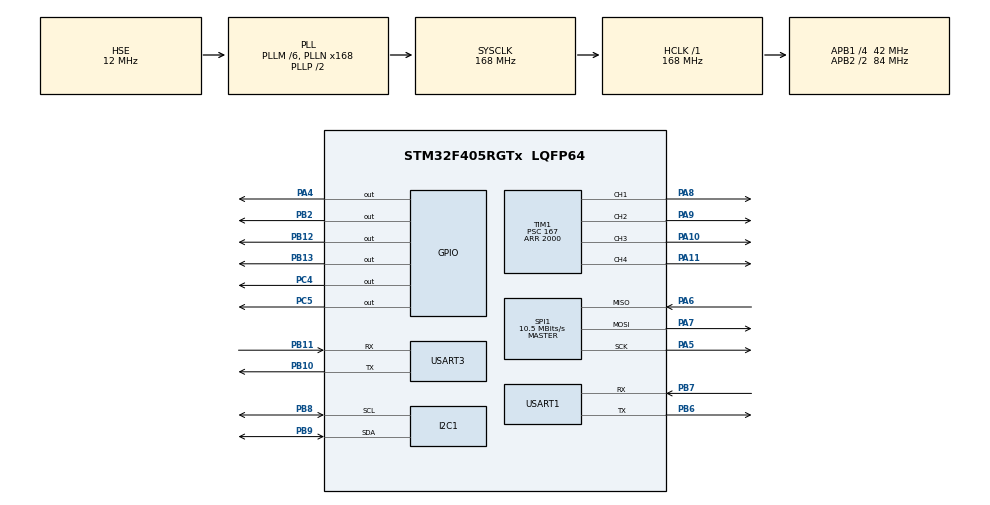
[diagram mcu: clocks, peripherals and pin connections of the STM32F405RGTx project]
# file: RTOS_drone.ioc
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Dma.Request0=USART3_TX
Dma.USART3_TX.0.Direction=DMA_MEMORY_TO_PERIPH
Dma.USART3_TX.0.FIFOMode=DMA_FIFOMODE_DISABLE
Dma.USART3_TX.0.Instance=DMA1_Stream3
Dma.USART3_TX.0.MemDataAlignment=DMA_MDATAALIGN_BYTE
Dma.USART3_TX.0.MemInc=DMA_MINC_ENABLE
Dma.USART3_TX.0.Mode=DMA_NORMAL
Dma.USART3_TX.0.PeriphDataAlignment=DMA_PDATAALIGN_BYTE
Dma.USART3_TX.0.PeriphInc=DMA_PINC_DISABLE
Dma.USART3_TX.0.Priority=DMA_PRIORITY_LOW
FREERTOS.HEAP_NUMBER=4
FREERTOS.Queues01=Queue,32,uint16_t,0,Dynamic,NULL,NULL
FREERTOS.Tasks01=read_MPU,0,256,StartDefaultTask,Default,NULL,Dynamic,NULL,NULL;read_BMP,0,256,StartTask02,Default,NULL,Dynamic,NULL,NULL;receiveTask,0,256,StartTask03,Default,NULL,Dynamic,NULL,NULL;filterTask,-3,2500,filterFunction,Default,NULL,Dynamic,NULL,NULL
FREERTOS.configTOTAL_HEAP_SIZE=100000
I2C1.I2C_Mode=I2C_Fast
Mcu.Family=STM32F4
Mcu.Name=STM32F405RGTx
Mcu.Package=LQFP64
NVIC.DMA1_Stream3_IRQn=true\:5\:0\:false\:false\:true\:true\:false\:true
NVIC.PriorityGroup=NVIC_PRIORITYGROUP_4
NVIC.TIM7_IRQn=true\:5\:0\:false\:false\:true\:true\:true\:true
NVIC.TIM8_TRG_COM_TIM14_IRQn=true\:0\:0\:false\:false\:true\:false\:false\:true
NVIC.TimeBase=TIM8_TRG_COM_TIM14_IRQn
NVIC.TimeBaseIP=TIM14
NVIC.USART1_IRQn=true\:8\:0\:true\:false\:true\:true\:true\:true
PA10.Signal=S_TIM1_CH3
PA11.Signal=S_TIM1_CH4
PA13.Mode=Serial_Wire
PA13.Signal=SYS_JTMS-SWDIO
PA14.Mode=Serial_Wire
PA14.Signal=SYS_JTCK-SWCLK
PA4.Signal=GPIO_Output
PA5.Mode=Full_Duplex_Master
PA5.Signal=SPI1_SCK
PA6.Mode=Full_Duplex_Master
PA6.Signal=SPI1_MISO
PA7.Mode=Full_Duplex_Master
PA7.Signal=SPI1_MOSI
PA8.Signal=S_TIM1_CH1
PA9.Signal=S_TIM1_CH2
PB10.Mode=Asynchronous
PB10.Signal=USART3_TX
PB11.Mode=Asynchronous
PB11.Signal=USART3_RX
PB12.Signal=GPIO_Output
PB13.Signal=GPIO_Output
PB2.Signal=GPIO_Output
PB6.Mode=Asynchronous
PB6.Signal=USART1_TX
PB7.Mode=Asynchronous
PB7.Signal=USART1_RX
PB8.Mode=I2C
PB8.Signal=I2C1_SCL
PB9.Mode=I2C
PB9.Signal=I2C1_SDA
PC4.Signal=GPIO_Output
PC5.Signal=GPIO_Output
PH0-OSC_IN.Mode=HSE-External-Oscillator
PH0-OSC_IN.Signal=RCC_OSC_IN
PH1-OSC_OUT.Mode=HSE-External-Oscillator
PH1-OSC_OUT.Signal=RCC_OSC_OUT
ProjectManager.HeapSize=0x200
ProjectManager.StackSize=0x400
ProjectManager.TargetToolchain=STM32CubeIDE
RCC.48MHZClocksFreq_Value=84000000
RCC.AHBFreq_Value=168000000
RCC.APB1CLKDivider=RCC_HCLK_DIV4
RCC.APB1Freq_Value=42000000
RCC.APB1TimFreq_Value=84000000
RCC.APB2CLKDivider=RCC_HCLK_DIV2
RCC.APB2Freq_Value=84000000
RCC.APB2TimFreq_Value=168000000
RCC.CortexFreq_Value=168000000
RCC.HCLKFreq_Value=168000000
RCC.HSE_VALUE=12000000
RCC.HSI_VALUE=16000000
RCC.LSE_VALUE=32768
RCC.PLLM=6
RCC.PLLN=168
RCC.PLLSourceVirtual=RCC_PLLSOURCE_HSE
RCC.SYSCLKFreq_VALUE=168000000
RCC.SYSCLKSource=RCC_SYSCLKSOURCE_PLLCLK
RCC.VCOOutputFreq_Value=336000000
SH.S_TIM1_CH1.0=TIM1_CH1,PWM Generation1 CH1
SH.S_TIM1_CH2.0=TIM1_CH2,PWM Generation2 CH2
SH.S_TIM1_CH3.0=TIM1_CH3,PWM Generation3 CH3
SH.S_TIM1_CH4.0=TIM1_CH4,PWM Generation4 CH4
SPI1.BaudRatePrescaler=SPI_BAUDRATEPRESCALER_8
SPI1.CalculateBaudRate=10.5 MBits/s
SPI1.Direction=SPI_DIRECTION_2LINES
SPI1.Mode=SPI_MODE_MASTER
SPI1.VirtualType=VM_MASTER
TIM1.Channel-PWM\ Generation1\ CH1=TIM_CHANNEL_1
TIM1.Channel-PWM\ Generation2\ CH2=TIM_CHANNEL_2
TIM1.Channel-PWM\ Generation3\ CH3=TIM_CHANNEL_3
TIM1.Channel-PWM\ Generation4\ CH4=TIM_CHANNEL_4
TIM1.Period=2000
TIM1.Prescaler=167
TIM4.Period=2000
TIM4.Prescaler=167
TIM7.Prescaler=167
USART1.VirtualMode=VM_ASYNC
USART3.VirtualMode=VM_ASYNC
VP_CRC_VS_CRC.Mode=CRC_Activate
VP_FREERTOS_VS_CMSIS_V1.Mode=CMSIS_V1
VP_SYS_VS_tim14.Mode=TIM14
VP_TIM1_VS_ClockSourceINT.Mode=Internal
VP_TIM4_VS_ClockSourceINT.Mode=Internal
VP_TIM7_VS_ClockSourceINT.Mode=Enable_Timer
board=custom

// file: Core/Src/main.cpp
/** Main loop of the quadcopter, using RTOS*******************************/

#include "main.h"
#include "cmsis_os.h"

/* USER CODE BEGIN Includes */
#include "mpu9250.hpp"
//#include "sbus.h"
#include "MadgwickAHRS.h"
#include "print_func.hpp"
#include "IMU_EKF.hpp"
#include "mpu_data_type.hpp"
#include "bmp180.h"
#include "flash.h"
#include "PID.h"
#include "MotorController.hpp"

/* USER CODE END Includes */

osThreadId read_MPUHandle;
osThreadId read_BMPHandle;
osThreadId read_MagnetHandle;
osThreadId receiveTaskHandle;
osThreadId filterTaskHandle;
osMessageQId QueueHandle;
/* USER CODE BEGIN PV */
uint8_t Rx_data[2];
uint8_t Rx_buffer[24];
uint8_t sbus_buffer[7];

bool reading = false;

int start, end, t_sample, i;
int j;

double alt;

IMU_data *ptr;
osEvent retvalue;

IMU_calib_data imu_bias;

IMU_data data_imu_temp;
IMU_data data_imu_raw;
IMU_data data_imu_buffer;
IMU_data data_imu_com;
MAG_data mag_data;

EULER_angle drone_state;
EULER_angle magd_state;
EULER_angle com_state;

ESC_value esc_value;
ESC_value esc_stop;
ESC_value esc;

LPF gyro_lpf;
LPF gyro_lpf1;
LPF gyro_lpf2;

LPF acc_lpf;
LPF acc_lpf1;
LPF acc_lpf2;

PID_raw pid_temp;
PID_value pid;

PID pid_roll;
PID pid_pitch;
PID pid_yaw;

MotorController controller;

uint16_t thrust_control;

uint8_t QueueBuffer[ 32 * sizeof( IMU_data * ) ];
osStaticMessageQDef_t QueueControlBlock;

float pid_r_value,pid_p_value,pid_y_value;
//IMU_EKF ekf;

double x[7] = {1,0,0,0,0,0,0};

/* USER CODE END PV */

void SystemClock_Config(void);
void StartDefaultTask(void const * argument);
void StartTask02(void const * argument);
void StartTask03(void const * argument);
void readMagnet(void const * argument);
void filterFunction(void const * argument);

/* USER CODE BEGIN PFP */
void init_nRF24(){
	 uint8_t ADDR[] = { 'n', 'R', 'F', '2', '4' }; // the address for RX pipe
	  nRF24_SetRFChannel(90); // set RF channel to 2490MHz
	  nRF24_SetDataRate(nRF24_DR_2Mbps); // 2Mbit/s data rate
	  nRF24_SetCRCScheme(nRF24_CRC_1byte); // 1-byte CRC scheme
	  nRF24_SetAddrWidth(5); // address width is 5 bytes
	  nRF24_SetAddr(nRF24_PIPE1, ADDR); // program pipe address
	  nRF24_SetRXPipe(nRF24_PIPE1, nRF24_AA_ON, 10); // enable RX pipe#1 with Auto-ACK: enabled, payload length: 10 bytes
	  nRF24_SetTXPower(nRF24_TXPWR_0dBm); // configure TX power for Auto-ACK, good choice - same power level as on transmitter
	  nRF24_SetOperationalMode(nRF24_MODE_RX); // switch transceiver to the RX mode
	  nRF24_SetPowerMode(nRF24_PWR_UP); // wake-up transceiver (in case if it sleeping)
	  // then pull CE pin to HIGH, and the nRF24 will start a receive...
}
/* USER CODE END PFP */

/* USER CODE BEGIN 0 */
osMailQId(myMailQID); //Define mail queue

/* USER CODE END 0 */

int main(void)
{

  /* MCU Configuration--------------------------------------------------------*/

  /* Reset of all peripherals, Initializes the Flash interface and the Systick. */

  HAL_Init();

  /* Configure the system clock */
  SystemClock_Config();

  /* Initialize all configured peripherals */
  MX_GPIO_Init();
  MX_USART3_UART_Init();
  MX_I2C1_Init();
  MX_TIM1_Init();
  MX_USART1_UART_Init();
  MX_TIM4_Init();
  MX_TIM7_Init();
  MX_SPI1_Init();
  /* USER CODE BEGIN 2 */

  HAL_UART_Receive_IT(&huart3, (uint8_t *) Rx_data, 1);
  HAL_UART_Receive_IT(&huart1, (uint8_t *) Rx_data, 1);

  check_AHRS(true);

  esc_stop.esc_value1 = 1000;
  esc_stop.esc_value2 = 1000;
  esc_stop.esc_value3 = 1000;
  esc_stop.esc_value4 = 1000;

  thrust_control = 1000;

  init_MPU();
  init_ESC();
  init_nRF24();
//  initBMP();

  pid = readFlash();

  print_pid_value(pid);

  controller.loadPID(pid);

//  pid_roll.load(pid.Kp1/100,pid.Ki1/100,pid.Kd1/100,0.01);
//  pid_pitch.load(pid.Kp1/100,pid.Ki1/100,pid.Kd1/100,0.01);
//  pid_yaw.load(pid.Kp1/100,pid.Ki1/100,pid.Kd1/100,0.01);
//  MX_TIM7_Init();
  BOARD_MODE = FLY_MODE;
  ARMED = UNARMED;
//  data_lpf.load(LPF_10HZ);

  gyro_lpf.load(LPF_50HZ);
  gyro_lpf1.load(LPF_50HZ);
  gyro_lpf2.load(LPF_50HZ);

  acc_lpf.load(LPF_10HZ);
  acc_lpf1.load(LPF_10HZ);
  acc_lpf2.load(LPF_10HZ);

  imu_bias = readIMUcalib();
//  writeCalibration(imu_bias);

  x[4] = bGx*DEC2RAD;
  x[5] = bGy*DEC2RAD;
  x[6] = bGz*DEC2RAD;

//  ekf.loadEKF(x,P,Q,R_full);

//  initBMP();

//  calibration_IMU();
  /* USER CODE END 2 */

  /* Create the queue(s) */
  /* definition and creation of Queue */
  osMessageQStaticDef(Queue, 32, IMU_data *, QueueBuffer, &QueueControlBlock);
  QueueHandle = osMessageCreate(osMessageQ(Queue), NULL);

  /* Create the thread(s) */
  /* definition and creation of read_MPU */
  osThreadDef(read_MPU, StartDefaultTask, osPriorityNormal, 0, 128);
  read_MPUHandle = osThreadCreate(osThread(read_MPU), NULL);

  /* definition and creation of read_BMP */
  osThreadDef(read_BMP, StartTask02, osPriorityNormal, 0, 128);
  read_BMPHandle = osThreadCreate(osThread(read_BMP), NULL);

  /* definition and creation of read_magnet */
//  osThreadDef(read_Magnet, readMagnet, osPriorityNormal, 0, 128);
//  read_MagnetHandle = osThreadCreate(osThread(read_Magnet), NULL);

  /* definition and creation of receiveTask */
  osThreadDef(receiveTask, StartTask03, osPriorityHigh, 0, 512);
  receiveTaskHandle = osThreadCreate(osThread(receiveTask), NULL);

  /* definition and creation of filterTask */
  osThreadDef(filterTask, filterFunction, osPriorityAboveNormal , 0, 10000);
  filterTaskHandle = osThreadCreate(osThread(filterTask), NULL);

  /* Start scheduler */
  osKernelStart();

  /* We should never get here as control is now taken by the scheduler */

  /* Infinite loop */
  while (1)
  {

  }
}

void SystemClock_Config(void)
{
  RCC_OscInitTypeDef RCC_OscInitStruct = {0};
  RCC_ClkInitTypeDef RCC_ClkInitStruct = {0};

  /** Configure the main internal regulator output voltage
  */
  __HAL_RCC_PWR_CLK_ENABLE();
  __HAL_PWR_VOLTAGESCALING_CONFIG(PWR_REGULATOR_VOLTAGE_SCALE1);
  /** Initializes the CPU, AHB and APB busses clocks
  */
  RCC_OscInitStruct.OscillatorType = RCC_OSCILLATORTYPE_HSE;
  RCC_OscInitStruct.HSEState = RCC_HSE_ON;
  RCC_OscInitStruct.PLL.PLLState = RCC_PLL_ON;
  RCC_OscInitStruct.PLL.PLLSource = RCC_PLLSOURCE_HSE;
  RCC_OscInitStruct.PLL.PLLM = 6;
  RCC_OscInitStruct.PLL.PLLN = 168;
  RCC_OscInitStruct.PLL.PLLP = RCC_PLLP_DIV2;
  RCC_OscInitStruct.PLL.PLLQ = 4;
  if (HAL_RCC_OscConfig(&RCC_OscInitStruct) != HAL_OK)
  {

  }
  /** Initializes the CPU, AHB and APB busses clocks
  */
  RCC_ClkInitStruct.ClockType = RCC_CLOCKTYPE_HCLK|RCC_CLOCKTYPE_SYSCLK
                              |RCC_CLOCKTYPE_PCLK1|RCC_CLOCKTYPE_PCLK2;
  RCC_ClkInitStruct.SYSCLKSource = RCC_SYSCLKSOURCE_PLLCLK;
  RCC_ClkInitStruct.AHBCLKDivider = RCC_SYSCLK_DIV1;
  RCC_ClkInitStruct.APB1CLKDivider = RCC_HCLK_DIV4;
  RCC_ClkInitStruct.APB2CLKDivider = RCC_HCLK_DIV2;

  if (HAL_RCC_ClockConfig(&RCC_ClkInitStruct, FLASH_LATENCY_5) != HAL_OK)
  {

  }
}

void StartDefaultTask(void const * argument)
{
  /* USER CODE BEGIN 5 */
  /* Infinite loop */
  for(;;)
  {

//    data = osMailAlloc(QueueHandle, osWaitForever); /* Allocate memory */
	  data_imu_raw = process_MPU(true,false);
	  osMessagePut(QueueHandle , (uint32_t) (&data_imu_raw), 200);
	  adding_raw();
	  i++;
	//	     osDelay(2);
	  osDelay(1);
  }
  /* USER CODE END 5 */
}

void StartTask03(void const * argument)
{
  /* USER CODE BEGIN StartTask02 */
  /* Infinite loop */
  for(;;)
  {
//	  advance_print(data_imu_buffer);

//	  print_euler_compare(com_state,magd_state,drone_state);
//	  print_magnet(mag_data);
//	  print_raw(data_imu_buffer);
//	  print_raw_mag(data_imu_buffer, mag_data);
//	  print_euler(drone_state);
	  print_euler_compare(com_state,magd_state,drone_state);

	  osDelay(45);

  }
  /* USER CODE END StartTask02 */
}

void StartTask02(void const * argument)
{
  /* USER CODE BEGIN StartTask03 */
  /* Infinite loop */
  for(;;)
  {
	  nRF24_CE_H; // start receiving
	  if (nRF24_GetStatus_RXFIFO() != nRF24_STATUS_RXFIFO_EMPTY) {
	 //	    	  IRQ = HAL_GPIO_ReadPin(GPIOA,GPIO_PIN_4);
	 //	          // the RX FIFO have some data, take a note what nRF24 can hold up to three payloads of 32 bytes...
	 	          pipe = nRF24_ReadPayload(nRF24_payload, &payload_length); // read a payload to buffer
	 	          nRF24_ClearIRQFlags(); // clear any pending IRQ bits

	 	      }
	  osDelay(100);
  }
  /* USER CODE END StartTask03 */
}

void readMagnet(void const * argument)
{
  /* USER CODE BEGIN StartTask03 */
  /* Infinite loop */
  for(;;)
  {
		mag_data = process_magnet();
	//	alt =  get_alt_bmp();

	    osDelay(100);
  }
  /* USER CODE END StartTask03 */
}
void filterFunction(void const * argument)
{
  /* USER CODE BEGIN filterFunction */
  /* Infinite loop */
  for(;;)
  {

		data_imu_temp.Gyro_x  = 0;
		data_imu_temp.Gyro_y  = 0;
		data_imu_temp.Gyro_z  = 0;

		data_imu_temp.Acc_x  = 0;
		data_imu_temp.Acc_y  = 0;
		data_imu_temp.Acc_z  = 0;
	  if(i!=0){
		  for(int count = 0; count < 10; count++){
		  	retvalue = osMessageGet(QueueHandle, 10);
		  	ptr = (IMU_data*) retvalue.value.p;
		  	data_imu_temp.Acc_x += ptr->Acc_x;
		  	data_imu_temp.Acc_y += ptr->Acc_y;
		  	data_imu_temp.Acc_z += ptr->Acc_z;

		  	data_imu_temp.Gyro_x += ptr->Gyro_x;
		  	data_imu_temp.Gyro_y += ptr->Gyro_y;
		  	data_imu_temp.Gyro_z += ptr->Gyro_z;
		  }
		  gyro_lpf.update(data_imu_temp.Gyro_x /i);
		  gyro_lpf1.update(data_imu_temp.Gyro_y /i);
		  gyro_lpf2.update(data_imu_temp.Gyro_z /i);

		  acc_lpf.update(data_imu_temp.Acc_x/i);
		  acc_lpf1.update(data_imu_temp.Acc_y/i);

		  acc_lpf2.update(data_imu_temp.Acc_z/i);

	  data_imu_buffer.Acc_x = acc_lpf.get();
	  data_imu_buffer.Acc_y = acc_lpf1.get();
	  data_imu_buffer.Acc_z = acc_lpf2.get();

	  data_imu_buffer.Gyro_x = gyro_lpf.get();
	  data_imu_buffer.Gyro_y = gyro_lpf1.get();
	  data_imu_buffer.Gyro_z = gyro_lpf2.get();

	  data_imu_com.Gyro_x = (gyro_lpf.get() - bGx);
	  data_imu_com.Gyro_y = (gyro_lpf1.get() - bGy);
	  data_imu_com.Gyro_z = (gyro_lpf2.get()  - bGz);

//	  data_imu_buffer.Acc_x =  acc_lpf.update(Acc_x_/i);
//	  data_imu_buffer.Acc_y =  acc_lpf1.update(Acc_y_/i);
//	  data_imu_buffer.Acc_z =  acc_lpf2.update(Acc_z_/i);

	  data_imu_com.Acc_x =  acc_lpf.get() - bAx;
	  data_imu_com.Acc_y =  acc_lpf1.get()- bAy;
	  data_imu_com.Acc_z =  acc_lpf2.get()- bAz;

////
//	  ekf.updateEKF(data_imu_buffer, 0.01);
//	  ekf.updateEKF(data_imu_buffer, mag_data, 0.01);

//	  data_imu_buffer.Acc_x =  gyro_angle_r;
//	  data_imu_buffer.Acc_y =  gyro_angle_p;
//	  data_imu_buffer.Acc_z =  gyro_angle_y;
//	  drone_state = ekf.getAngle();
//	  print_raw(data_imu_buffer);
	  }
	  magd_state = MadgwickAHRSupdateIMU(data_imu_com,0.01);
	  com_state = complementary_filter(data_imu_com, 0.01, 0.98);

//	  float mag_x = mag_data.Mag_x*cos(com_state.pitch) + mag_data.Mag_y*sin(com_state.roll)*sin(com_state.pitch) + mag_data.Mag_z*cos(com_state.roll)*sin(com_state.pitch);
//	  float mag_y = mag_data.Mag_y*cos(com_state.roll) - mag_data.Mag_z* sin(com_state.roll);
	  com_state.yaw = 180 * atan2(-mag_data.Mag_x,mag_data.Mag_y)/M_PI;

	  esc = controller.update(com_state,thrust_control);
      if((ARMED == ARMED_)  && (BOARD_MODE == FLY_MODE)){
	      set_ESC(esc);
      }
	  magd_state.yaw = esc.esc_value1;
      drone_state.roll = esc.esc_value2;
      drone_state.pitch = esc.esc_value3;
      drone_state.yaw = esc.esc_value4;
//	  pid_p_value = pid_pitch.round(pid_pitch.Out);
//	  pid_r_value = pid_pitch.round(pid_roll.Out);
////
//	  magd_state.pitch = pid_p_value;
//	  magd_state.roll = pid_r_value;
//	  com_state = cross2plus(com_state);
	  i = 0;

	  delete_raw();
      osDelay(10);
  }
  /* USER CODE END filterFunction */
}

void HAL_TIM_PeriodElapsedCallback(TIM_HandleTypeDef *htim)
{
  if (htim->Instance == TIM14) {
    HAL_IncTick();
  }
  /* USER CODE BEGIN Callback 1 */
  if (htim->Instance == TIM7) {
	  ulHighFrequencyTimerTicks ++;
  }
  /* USER CODE END Callback 1 */
}

void HAL_UART_RxCpltCallback(UART_HandleTypeDef *huart)
{
	HAL_GPIO_TogglePin(GPIOB, GPIO_PIN_13);

	if (huart->Instance == USART1)  //current UART
	{

//		char trans_b[4];
		if(Rx_data[0] == 's'){
			j = 0;
//			BOARD_MODE = FLY_MODE;

             for(int count = 0; count< 24; count++)
            	 Rx_buffer[count] = 0x00;
		}
		else{
			if((Rx_data[0] != 'e')){
			 Rx_buffer[j] = Rx_data[0];
			 j++;
//			 HAL_UART_Receive_IT(&huart3, (uint8_t *) Rx_data, 1);

			}
			else{

				if(Rx_buffer[21] == 0x00){
					for(uint8_t k = 0; k<8; k++){
                        sbus_buffer[k] = Rx_buffer[k];
					}
				esc_value = sbus_decode(sbus_buffer);
				if(check_CRC(esc_value)){
					if(CRC_thurst(esc_value)){
						thrust_control = esc_value.esc_value1;
					}
					else{
						if(ARMED && (BOARD_MODE == TEST_MODE))
				        set_ESC(esc_value);
					}
				    j = 0;
//				   	HAL_UART_Transmit(&huart1,(uint8_t*) ack, strlen(ack),100);
				}
				else{
					 j = 0;
				}
				}
				else{
					 pid_temp = pid_decode(Rx_buffer);
					 if(check_CRC_pid(pid_temp)){
						 writeFlash(pid_temp.data);
						 pid = readFlash();
						 controller.loadPID(pid);
//						 pid_roll.load(pid.Kp1/100,pid.Ki1/100,pid.Kd1/100,0.01);
//						 pid_pitch.load(pid.Kp1/100,pid.Ki1/100,pid.Kd1/100,0.01);
						 HAL_GPIO_TogglePin(GPIOB, GPIO_PIN_12);
					 }
				}
                Rx_data[0] = 0;

//				HAL_UART_Receive_IT(&huart3, (uint8_t *) Rx_data, 1);
			}
		}

		if((Rx_data[0] == 'd')){
			set_ESC(esc_stop);
			ARMED = UNARMED;
			BOARD_MODE = FLY_MODE;
		}
		if(Rx_data[0] == 'a'){
			ARMED = ARMED_;
			BOARD_MODE = FLY_MODE;
		}
//
		if(Rx_data[0] == 't'){
			BOARD_MODE = TEST_MODE;
		}
	}

//
	if (huart->Instance == USART3)  //current UART
	{

//		char trans_b[4];
		if(Rx_data[0] == 's'){
			j = 0;
//			BOARD_MODE = FLY_MODE;
//			reading = true;
             for(int count = 0; count< 24; count++)
            	 Rx_buffer[count] = 0x00;
		}
		else{
			if(Rx_data[0] != 'e'){
			 Rx_buffer[j] = Rx_data[0];
			 j++;
//			 HAL_UART_Receive_IT(&huart3, (uint8_t *) Rx_data, 1);

			}
			else{
				if(Rx_buffer[8] == 0x00){
					for(uint8_t k = 0; k<8; k++){
                        sbus_buffer[k] = Rx_buffer[k];
					}
				esc_value = sbus_decode(sbus_buffer);
				if(check_CRC(esc_value)){
				    set_ESC(esc_value);
				    j = 0;
//				   	HAL_UART_Transmit(&huart1,(uint8_t*) ack, strlen(ack),100);
				}
				else{
					 j = 0;
				}
				}
				else{
					 pid_temp = pid_decode(Rx_buffer);
					 if(check_CRC_pid(pid_temp)){
						 writeFlash(pid_temp.data);
						 pid = readFlash();
					 }
				}
                Rx_data[0] = 0;

//				HAL_UART_Receive_IT(&huart3, (uint8_t *) Rx_data, 1);
			}
		}

		if(Rx_data[0] == 'd'){
			set_ESC(esc_stop);
		}
	}
	 HAL_UART_Receive_IT(&huart1, (uint8_t *) Rx_data, 1);
	 HAL_UART_Receive_IT(&huart3, (uint8_t *) Rx_data, 1);
}

/************************ (C) COPYRIGHT STMicroelectronics *****END OF FILE****/
